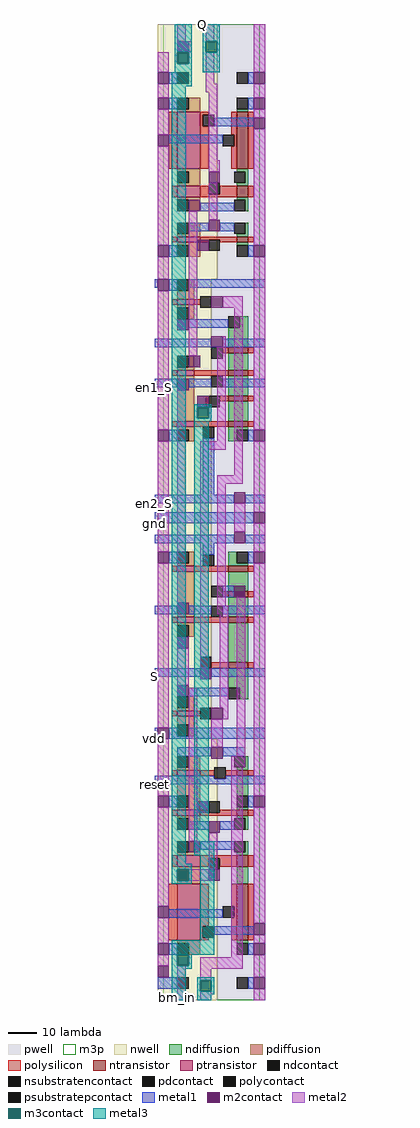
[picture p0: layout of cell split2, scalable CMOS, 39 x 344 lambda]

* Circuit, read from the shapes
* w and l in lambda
.subckt split2 D Q S bm_in bm_out en1_S en2_S gnd reset vdd
M1 n1 S n2 gnd nfet w=7 l=2
M2 n3 en1_S n1 gnd nfet w=7 l=2
M3 n4 D n3 gnd nfet w=7 l=2
M4 gnd en2_S n4 gnd nfet w=7 l=2
M5 n5 en2_S gnd gnd nfet w=7 l=2
M6 n6 bm_in n5 gnd nfet w=7 l=2
M7 n7 en1_S n6 gnd nfet w=7 l=2
M8 n8 S n7 gnd nfet w=7 l=2
M9 n9 vdd gnd gnd nfet w=4 l=20
M10 n2 bm_out n9 gnd nfet w=4 l=4
M11 gnd n2 bm_out gnd nfet w=4 l=2
M12 n10 reset gnd gnd nfet w=4 l=2
M13 Q n8 gnd gnd nfet w=4 l=2
M14 n11 Q n8 gnd nfet w=4 l=4
M15 gnd vdd n11 gnd nfet w=4 l=20
M16 n12 gnd vdd vdd pfet w=8 l=20
M17 n2 bm_out n12 vdd pfet w=8 l=4
M18 vdd n2 bm_out vdd pfet w=8 l=2
M19 n10 reset vdd vdd pfet w=8 l=2
M20 n2 n10 vdd vdd pfet w=6 l=2
M21 n13 en1_S n2 vdd pfet w=6 l=2
M22 vdd en2_S n13 vdd pfet w=6 l=2
M23 n14 en2_S vdd vdd pfet w=6 l=2
M24 n8 en1_S n14 vdd pfet w=6 l=2
M25 vdd n10 n8 vdd pfet w=6 l=2
M26 Q n8 vdd vdd pfet w=8 l=2
M27 n15 Q n8 vdd pfet w=8 l=4
M28 vdd gnd n15 vdd pfet w=8 l=20
.ends

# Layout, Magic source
magic
tech scmos
<< nwell >>
rect -2 254 19 344
rect -2 92 17 254
rect -2 0 19 92
<< pwell >>
rect 19 254 36 344
rect 17 92 36 254
rect 19 0 36 92
<< ntransistor >>
rect 26 293 30 313
rect 26 283 30 287
rect 26 267 30 269
rect 23 228 30 230
rect 23 220 30 222
rect 23 211 30 213
rect 23 202 30 204
rect 23 151 30 153
rect 23 142 30 144
rect 23 133 30 135
rect 23 117 30 119
rect 26 79 30 81
rect 26 65 30 67
rect 26 47 30 51
rect 26 21 30 41
<< ptransistor >>
rect 5 293 13 313
rect 5 283 13 287
rect 5 267 13 269
rect 5 245 11 247
rect 5 220 11 222
rect 5 202 11 204
rect 5 151 11 153
rect 5 133 11 135
rect 5 100 11 102
rect 5 79 13 81
rect 5 65 13 67
rect 5 47 13 51
rect 5 21 13 41
<< ndiffusion >>
rect 26 313 30 314
rect 26 292 30 293
rect 29 288 30 292
rect 26 287 30 288
rect 26 282 30 283
rect 29 278 30 282
rect 29 270 30 274
rect 26 269 30 270
rect 26 266 30 267
rect 27 237 30 241
rect 23 230 30 237
rect 23 222 30 228
rect 23 213 30 220
rect 23 204 30 211
rect 23 201 30 202
rect 23 197 26 201
rect 23 154 26 158
rect 23 153 30 154
rect 23 144 30 151
rect 23 135 30 142
rect 23 119 30 133
rect 23 110 30 117
rect 27 106 30 110
rect 29 82 30 86
rect 26 81 30 82
rect 26 72 30 79
rect 26 67 30 68
rect 26 64 30 65
rect 29 60 30 64
rect 29 52 30 56
rect 26 51 30 52
rect 26 41 30 47
rect 26 20 30 21
<< pdiffusion >>
rect 9 314 13 318
rect 5 313 13 314
rect 5 292 13 293
rect 9 288 13 292
rect 5 287 13 288
rect 5 282 13 283
rect 9 278 13 282
rect 9 270 13 274
rect 5 269 13 270
rect 5 266 13 267
rect 9 262 13 266
rect 9 250 11 254
rect 5 247 11 250
rect 5 244 11 245
rect 9 240 11 244
rect 9 223 11 227
rect 5 222 11 223
rect 5 204 11 220
rect 5 201 11 202
rect 9 197 11 201
rect 9 154 11 158
rect 5 153 11 154
rect 5 135 11 151
rect 5 132 11 133
rect 9 128 11 132
rect 9 103 11 107
rect 5 102 11 103
rect 5 97 11 100
rect 9 93 11 97
rect 9 82 13 86
rect 5 81 13 82
rect 5 72 13 79
rect 9 68 13 72
rect 5 67 13 68
rect 5 64 13 65
rect 9 60 13 64
rect 9 52 13 56
rect 5 51 13 52
rect 5 41 13 47
rect 5 20 13 21
rect 9 16 13 20
<< ndcontact >>
rect 26 314 30 318
rect 25 288 29 292
rect 25 278 29 282
rect 25 270 29 274
rect 26 262 30 266
rect 23 237 27 241
rect 26 197 30 201
rect 26 154 30 158
rect 23 106 27 110
rect 25 82 29 86
rect 26 68 30 72
rect 25 60 29 64
rect 25 52 29 56
rect 26 16 30 20
<< pdcontact >>
rect 5 314 9 318
rect 5 288 9 292
rect 5 278 9 282
rect 5 270 9 274
rect 5 262 9 266
rect 5 250 9 254
rect 5 240 9 244
rect 5 223 9 227
rect 5 197 9 201
rect 5 154 9 158
rect 5 128 9 132
rect 5 103 9 107
rect 5 93 9 97
rect 5 82 9 86
rect 5 68 9 72
rect 5 60 9 64
rect 5 52 9 56
rect 5 16 9 20
<< psubstratepcontact >>
rect 26 323 30 327
rect 26 4 30 8
<< nsubstratencontact >>
rect 5 323 9 327
rect 5 4 9 8
<< polysilicon >>
rect 2 293 5 313
rect 13 312 16 313
rect 13 308 14 312
rect 13 293 16 308
rect 24 305 26 313
rect 25 301 26 305
rect 24 293 26 301
rect 30 293 32 313
rect 3 283 5 287
rect 13 284 16 287
rect 20 284 26 287
rect 13 283 26 284
rect 30 283 32 287
rect 3 267 5 269
rect 13 268 26 269
rect 13 267 16 268
rect 20 267 26 268
rect 30 267 32 269
rect 3 245 5 247
rect 11 245 13 247
rect 21 228 23 230
rect 30 228 32 230
rect 3 220 5 222
rect 11 220 23 222
rect 30 220 32 222
rect 15 209 16 213
rect 20 211 23 213
rect 30 211 32 213
rect 3 202 5 204
rect 11 202 23 204
rect 30 202 32 204
rect 3 151 5 153
rect 11 151 23 153
rect 30 151 32 153
rect 21 142 23 144
rect 30 142 32 144
rect 3 133 5 135
rect 11 133 23 135
rect 30 133 32 135
rect 17 117 23 119
rect 30 117 32 119
rect 3 100 5 102
rect 11 100 13 102
rect 3 79 5 81
rect 13 79 18 81
rect 22 79 26 81
rect 30 79 32 81
rect 3 65 5 67
rect 13 66 16 67
rect 20 66 26 67
rect 13 65 26 66
rect 30 65 32 67
rect 3 47 5 51
rect 13 50 26 51
rect 13 47 16 50
rect 20 47 26 50
rect 30 47 32 51
rect 2 21 5 41
rect 13 26 16 41
rect 24 33 26 41
rect 25 29 26 33
rect 13 22 14 26
rect 13 21 16 22
rect 24 21 26 29
rect 30 21 32 41
<< polycontact >>
rect 14 308 18 312
rect 21 301 25 305
rect 16 284 20 288
rect 16 264 20 268
rect 13 244 17 248
rect 17 226 21 230
rect 17 216 21 220
rect 16 209 20 213
rect 14 198 18 202
rect 14 153 18 157
rect 17 142 21 146
rect 17 135 21 139
rect 13 117 17 121
rect 13 99 17 103
rect 18 78 22 82
rect 16 66 20 70
rect 16 46 20 50
rect 21 29 25 33
rect 14 22 18 26
<< metal1 >>
rect 2 323 5 327
rect 30 323 32 327
rect 2 314 5 318
rect 30 314 32 318
rect 18 308 32 311
rect 2 302 21 305
rect 13 278 25 281
rect 9 271 16 274
rect 20 271 25 274
rect 2 262 5 266
rect 30 262 32 266
rect -3 251 -2 254
rect 2 250 5 254
rect 9 251 36 254
rect 9 237 23 240
rect -3 230 17 233
rect 21 230 36 233
rect -3 216 5 219
rect 9 216 17 219
rect 21 216 36 219
rect 2 197 5 201
rect 14 178 18 198
rect 30 197 32 201
rect -3 175 25 178
rect 29 175 36 178
rect -3 168 32 172
rect -3 161 25 164
rect 29 161 36 164
rect 2 154 5 158
rect 14 157 18 161
rect 30 154 32 158
rect 21 142 25 146
rect -3 136 5 139
rect 9 136 17 139
rect 21 136 36 139
rect -3 114 13 117
rect 17 114 36 117
rect 9 107 23 110
rect -3 92 -2 96
rect 2 93 5 96
rect 9 93 36 96
rect 2 92 36 93
rect 5 86 17 89
rect 21 86 29 89
rect -3 78 18 79
rect 22 78 36 79
rect -3 76 36 78
rect 2 68 5 72
rect 30 68 32 72
rect 9 60 16 63
rect 20 60 25 63
rect 13 53 25 56
rect 2 29 21 32
rect 18 23 32 26
rect 2 16 5 20
rect 30 16 32 20
rect -2 4 5 8
rect 30 4 32 8
<< m2contact >>
rect 5 334 9 338
rect -2 323 2 327
rect 32 323 36 327
rect -2 314 2 318
rect 32 314 36 318
rect 32 307 36 311
rect -2 301 2 305
rect 16 288 20 292
rect 9 278 13 282
rect 16 271 20 275
rect -2 262 2 266
rect 12 264 16 268
rect 32 262 36 266
rect -2 250 2 254
rect 17 244 21 248
rect 5 236 9 240
rect 17 230 21 234
rect 9 223 13 227
rect 5 215 9 219
rect 12 209 16 213
rect -2 197 2 201
rect 32 197 36 201
rect 25 175 29 179
rect 32 168 36 172
rect 25 161 29 165
rect -2 154 2 158
rect 32 154 36 158
rect 25 142 29 146
rect 5 136 9 140
rect 5 124 9 128
rect 13 113 17 117
rect 5 107 9 111
rect 17 99 21 103
rect -2 92 2 96
rect 17 85 21 89
rect -2 68 2 72
rect 12 66 16 70
rect 32 68 36 72
rect 16 59 20 63
rect 9 52 13 56
rect 16 42 20 46
rect -2 29 2 33
rect 32 23 36 27
rect -2 16 2 20
rect 32 16 36 20
rect -2 8 2 12
rect 32 4 36 8
<< metal2 >>
rect 5 338 8 344
rect 15 338 18 344
rect 9 334 10 338
rect -2 327 2 334
rect -2 318 2 323
rect 15 323 18 334
rect 32 327 36 344
rect 15 320 19 323
rect -2 305 2 314
rect -2 266 2 301
rect 16 296 19 320
rect 32 318 36 323
rect 32 311 36 314
rect 16 292 20 296
rect -2 254 2 262
rect -2 201 2 250
rect 9 227 12 278
rect 16 275 19 288
rect 32 266 36 307
rect 21 244 28 248
rect 21 230 22 234
rect -2 158 2 197
rect -2 96 2 154
rect 5 140 8 215
rect 19 197 22 230
rect 13 194 22 197
rect 5 111 9 124
rect 13 117 16 194
rect 25 185 28 244
rect 19 182 28 185
rect 32 201 36 262
rect 19 139 22 182
rect 25 165 29 175
rect 32 172 36 197
rect 32 158 36 168
rect 19 136 23 139
rect -2 72 2 92
rect -2 33 2 68
rect 9 56 12 110
rect 20 103 23 136
rect 21 99 23 103
rect 17 89 21 99
rect 26 86 29 142
rect 24 82 29 86
rect 16 46 19 59
rect 9 42 16 46
rect -2 20 2 29
rect -2 12 2 16
rect 24 15 28 82
rect 5 0 8 12
rect 13 11 28 15
rect 32 72 36 154
rect 32 27 36 68
rect 32 20 36 23
rect 13 7 17 11
rect 13 0 17 3
rect 32 8 36 16
rect 32 0 36 4
<< m3contact >>
rect 15 334 19 338
rect 5 330 9 334
rect 12 205 16 209
rect 5 42 9 46
rect 5 12 9 16
rect 13 3 17 7
<< metal3 >>
rect 4 334 10 344
rect 4 330 5 334
rect 9 330 10 334
rect 4 327 10 330
rect 14 338 20 344
rect 14 334 15 338
rect 19 334 20 338
rect 14 327 20 334
rect 3 322 10 327
rect 3 48 8 322
rect 11 209 17 210
rect 11 205 12 209
rect 16 205 17 209
rect 11 204 17 205
rect 11 56 16 204
rect 11 51 18 56
rect 3 46 10 48
rect 3 42 5 46
rect 9 42 10 46
rect 3 41 10 42
rect 13 21 18 51
rect 3 16 18 21
rect 3 12 5 16
rect 9 12 10 16
rect 3 11 10 12
rect 3 0 8 11
rect 12 7 18 8
rect 12 3 13 7
rect 17 3 18 7
rect 12 2 18 3
rect 12 0 17 2
<< m3p >>
rect 0 0 34 344
<< labels >>
rlabel metal1 -3 76 -3 76 1 reset
rlabel metal1 -3 168 -3 168 3 gnd
rlabel metal1 -3 175 -3 175 5 en2_S
rlabel metal1 -3 92 -3 92 1 vdd
rlabel metal1 -3 114 -3 114 5 S
rlabel metal1 -3 216 -3 216 1 en1_S
rlabel metal3 14 344 14 344 5 Q
rlabel metal3 5 1 5 1 1 bm_in
rlabel metal3 12 0 12 0 1 D
rlabel metal3 4 344 4 344 5 bm_out
<< end >>
